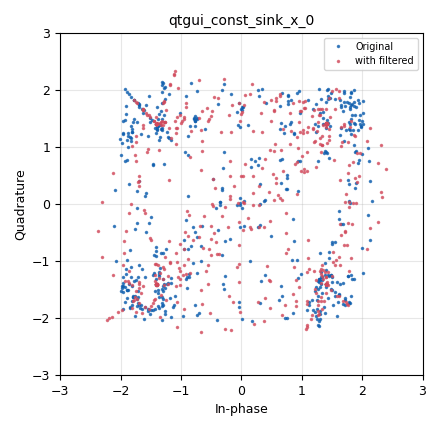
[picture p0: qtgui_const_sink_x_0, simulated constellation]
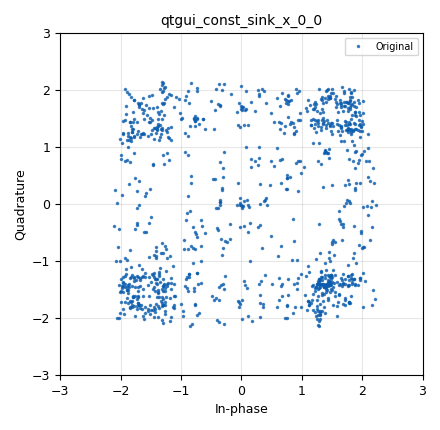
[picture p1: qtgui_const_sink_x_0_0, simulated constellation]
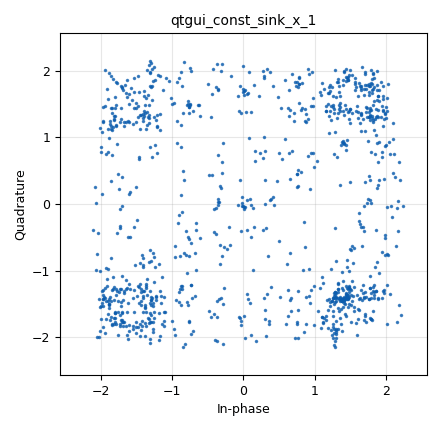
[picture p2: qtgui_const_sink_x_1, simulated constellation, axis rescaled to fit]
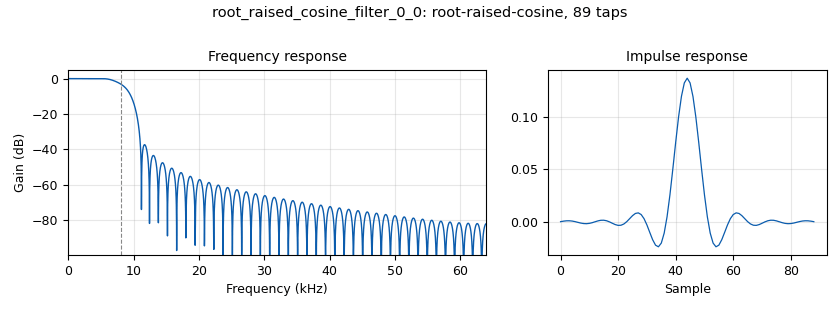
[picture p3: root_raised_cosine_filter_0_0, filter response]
options:
  parameters:
    author: Barry Duggan
    category: Custom
    generate_options: qt_gui
    id: qpsk_stage1
    output_language: python
    title: qpsk_stage1
  states: {}

blocks:
- name: excess_bw
  id: variable
  parameters:
    value: var_bw
  states: {}
- name: mod
  id: variable_constellation_rect
  parameters:
    const_points: '[0.707+0.707j, -0.707+0.707j, -0.707-0.707j, 0.707-0.707j]'
    imag_sect: '2'
    real_sect: '2'
    rot_sym: '4'
    sym_map: '[0, 1, 2, 3]'
    w_imag_sect: '1'
    w_real_sect: '1'
  states: {state: disabled}
- name: mod
  id: variable_constellation
  parameters:
    precision: '8'
    type: qpsk
  states: {}
- name: rrc_taps
  id: variable
  parameters:
    value: firdes.root_raised_cosine(1, sps, 1, excess_bw, 45)
  states: {}
- name: samp_rate
  id: variable
  parameters:
    value: 32000*4
  states: {}
- name: sps
  id: variable
  parameters:
    value: '8'
  states: {}
- name: var_bw
  id: variable_qtgui_range
  parameters:
    gui_hint: 2,1,2,1
    orient: Qt.Horizontal
    start: '0'
    step: '0.01'
    stop: '0.9'
    value: '0.35'
  states: {}
- name: analog_random_source_x_0
  id: analog_random_source_x
  parameters:
    max: '255'
    min: '0'
    num_samps: '10000'
    repeat: 'True'
    type: byte
  states: {}
- name: blocks_throttle_0
  id: blocks_throttle
  parameters:
    samples_per_second: samp_rate/8
    type: complex
  states: {}
- name: digital_constellation_modulator_0
  id: digital_constellation_modulator
  parameters:
    constellation: mod
    differential: 'False'
    excess_bw: excess_bw
    samples_per_symbol: sps
  states: {}
- name: fir_filter_xxx_0
  id: fir_filter_xxx
  parameters:
    decim: '1'
    taps: rrc_taps
    type: ccc
  states: {state: disabled}
- name: qtgui_const_sink_x_0
  id: qtgui_const_sink_x
  parameters:
    alpha1: '0.75'
    alpha2: '0.5'
    gui_hint: 0,1,1,1
    label1: Original
    label2: with filtered
    marker1: '-1'
    marker2: '-1'
    name: ''
    nconnections: '2'
    size: '512'
    style1: '1'
    style2: '1'
    type: complex
    update_time: '0.05'
    xmax: '3'
    xmin: '-3'
    ymax: '3'
    ymin: '-3'
  states: {}
- name: qtgui_const_sink_x_0_0
  id: qtgui_const_sink_x
  parameters:
    alpha1: '0.75'
    gui_hint: 0,1,1,1
    label1: Original
    marker1: '-1'
    name: ''
    size: '1024'
    type: complex
    update_time: '0.05'
    xmax: '3'
    xmin: '-3'
    ymax: '3'
    ymin: '-3'
  states: {}
- name: qtgui_const_sink_x_1
  id: qtgui_const_sink_x
  parameters:
    size: '1024'
    type: complex
  states: {}
- name: qtgui_freq_sink_x_0
  id: qtgui_freq_sink_x
  parameters:
    alpha1: '0.6'
    alpha2: '0.6'
    bw: samp_rate
    fc: '0'
    fftsize: '1024'
    gui_hint: 1,0,1,2
    label1: Original
    label2: Filtered
    name: ''
    nconnections: '2'
    showports: 'True'
    type: complex
    update_time: '0.05'
    wintype: firdes.WIN_BLACKMAN_hARRIS
    ymax: '0'
    ymin: '-150'
  states: {state: disabled}
- name: qtgui_freq_sink_x_0_0
  id: qtgui_freq_sink_x
  parameters:
    bw: samp_rate
    fc: '0'
    fftsize: '2048'
    gui_hint: 12,0,10,20
    label1: origina
    label2: Received & Filtered
    name: Transmitted & Received Spectrum
    nconnections: '2'
    type: complex
    wintype: firdes.WIN_BLACKMAN_hARRIS
    ymax: '-10'
  states: {state: disabled}
- name: qtgui_time_sink_x_0
  id: qtgui_time_sink_x
  parameters:
    alpha1: '0.5'
    alpha2: '0.5'
    alpha3: '0.5'
    alpha4: '0.5'
    gui_hint: 0,0,1,1
    label1: Re{TX}
    label2: Im{TX}
    label3: Re{RX}
    label4: Im{RX}
    name: ''
    nconnections: '2'
    size: '200'
    srate: samp_rate
    type: complex
    ymax: '2'
    ymin: '-2'
  states: {state: disabled}
- name: root_raised_cosine_filter_0_0
  id: root_raised_cosine_filter
  parameters:
    alpha: excess_bw
    comment: |-
      Symbol Rate: samp_rate/sps
      Alpha: excess_bw
      Num Taps: 11*sps
    decim: '1'
    gain: '1'
    ntaps: 11*8
    samp_rate: samp_rate
    sym_rate: samp_rate/sps
    type: fir_filter_ccf
  states: {}

connections:
- [analog_random_source_x_0, '0', digital_constellation_modulator_0, '0']
- [blocks_throttle_0, '0', fir_filter_xxx_0, '0']
- [blocks_throttle_0, '0', qtgui_const_sink_x_0, '0']
- [blocks_throttle_0, '0', qtgui_const_sink_x_0_0, '0']
- [blocks_throttle_0, '0', qtgui_const_sink_x_1, '0']
- [blocks_throttle_0, '0', qtgui_freq_sink_x_0, '0']
- [blocks_throttle_0, '0', qtgui_time_sink_x_0, '0']
- [blocks_throttle_0, '0', root_raised_cosine_filter_0_0, '0']
- [digital_constellation_modulator_0, '0', blocks_throttle_0, '0']
- [fir_filter_xxx_0, '0', qtgui_const_sink_x_0, '1']
- [fir_filter_xxx_0, '0', qtgui_freq_sink_x_0, '1']
- [fir_filter_xxx_0, '0', qtgui_time_sink_x_0, '1']
- [root_raised_cosine_filter_0_0, '0', qtgui_const_sink_x_0, '1']
- [root_raised_cosine_filter_0_0, '0', qtgui_freq_sink_x_0, '1']
- [root_raised_cosine_filter_0_0, '0', qtgui_time_sink_x_0, '1']

metadata:
  file_format: 1
